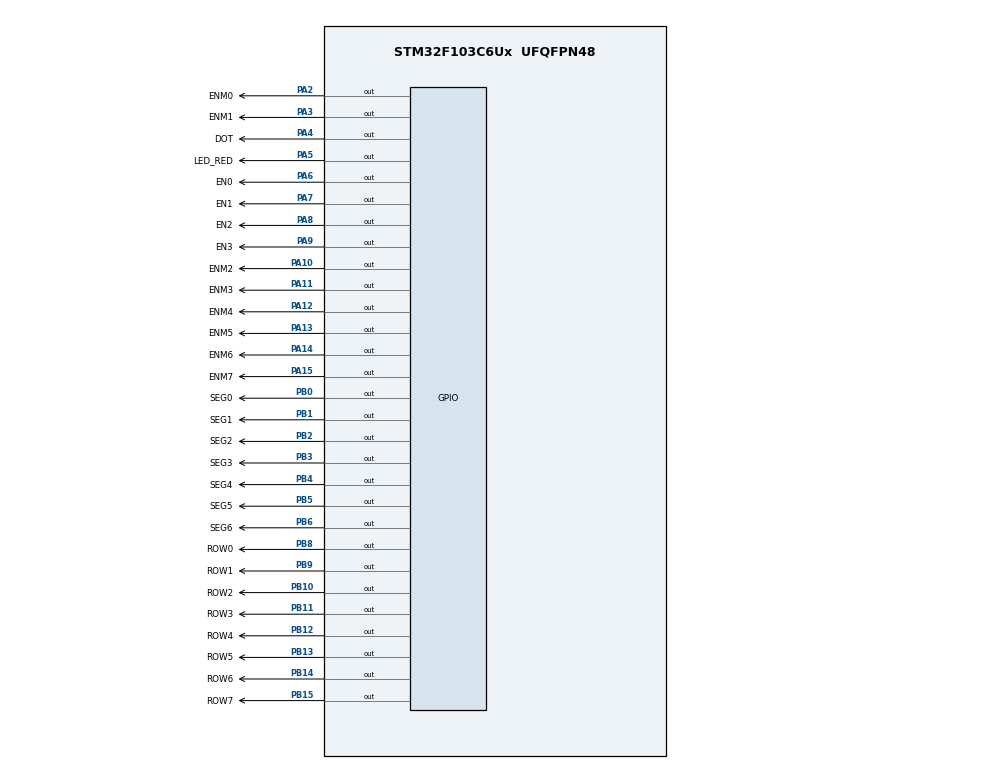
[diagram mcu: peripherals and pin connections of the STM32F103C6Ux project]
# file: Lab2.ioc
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Mcu.Family=STM32F1
Mcu.Name=STM32F103C6Ux
Mcu.Package=UFQFPN48
NVIC.PriorityGroup=NVIC_PRIORITYGROUP_4
NVIC.TIM2_IRQn=true\:0\:0\:false\:false\:true\:true\:true
PA10.GPIO_Label=ENM2
PA10.Signal=GPIO_Output
PA11.GPIO_Label=ENM3
PA11.Signal=GPIO_Output
PA12.GPIO_Label=ENM4
PA12.Signal=GPIO_Output
PA13.GPIO_Label=ENM5
PA13.Signal=GPIO_Output
PA14.GPIO_Label=ENM6
PA14.Signal=GPIO_Output
PA15.GPIO_Label=ENM7
PA15.Signal=GPIO_Output
PA2.GPIO_Label=ENM0
PA2.Signal=GPIO_Output
PA3.GPIO_Label=ENM1
PA3.Signal=GPIO_Output
PA4.GPIO_Label=DOT
PA4.Signal=GPIO_Output
PA5.GPIO_Label=LED_RED
PA5.Signal=GPIO_Output
PA6.GPIO_Label=EN0
PA6.Signal=GPIO_Output
PA7.GPIO_Label=EN1
PA7.Signal=GPIO_Output
PA8.GPIO_Label=EN2
PA8.Signal=GPIO_Output
PA9.GPIO_Label=EN3
PA9.Signal=GPIO_Output
PB0.GPIO_Label=SEG0
PB0.Signal=GPIO_Output
PB1.GPIO_Label=SEG1
PB1.Signal=GPIO_Output
PB10.GPIO_Label=ROW2
PB10.Signal=GPIO_Output
PB11.GPIO_Label=ROW3
PB11.Signal=GPIO_Output
PB12.GPIO_Label=ROW4
PB12.Signal=GPIO_Output
PB13.GPIO_Label=ROW5
PB13.Signal=GPIO_Output
PB14.GPIO_Label=ROW6
PB14.Signal=GPIO_Output
PB15.GPIO_Label=ROW7
PB15.Signal=GPIO_Output
PB2.GPIO_Label=SEG2
PB2.Signal=GPIO_Output
PB3.GPIO_Label=SEG3
PB3.Signal=GPIO_Output
PB4.GPIO_Label=SEG4
PB4.Signal=GPIO_Output
PB5.GPIO_Label=SEG5
PB5.Signal=GPIO_Output
PB6.GPIO_Label=SEG6
PB6.Signal=GPIO_Output
PB8.GPIO_Label=ROW0
PB8.Signal=GPIO_Output
PB9.GPIO_Label=ROW1
PB9.Signal=GPIO_Output
ProjectManager.HeapSize=0x200
ProjectManager.StackSize=0x400
ProjectManager.TargetToolchain=STM32CubeIDE
RCC.APB1Freq_Value=8000000
RCC.APB2Freq_Value=8000000
TIM2.Period=10
TIM2.Prescaler=7999
VP_SYS_VS_ND.Mode=No_Debug
VP_TIM2_VS_ClockSourceINT.Mode=Internal
board=custom

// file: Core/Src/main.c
/* USER CODE BEGIN Header */
/**
 ******************************************************************************
 * @file           : main.c
 * @brief          : Main program body
 ******************************************************************************
 * @attention
 *
 * <h2><center>&copy; Copyright (c) 2022 STMicroelectronics.
 * All rights reserved.</center></h2>
 *
 * This software component is licensed by ST under BSD 3-Clause license,
 * the "License"; You may not use this file except in compliance with the
 * License. You may obtain a copy of the License at:
 *                        opensource.org/licenses/BSD-3-Clause
 *
 ******************************************************************************
 */
/* USER CODE END Header */
#include "main.h"

/* USER CODE BEGIN Includes */
#include"timer.h"
/* USER CODE END Includes */

TIM_HandleTypeDef htim2;

void SystemClock_Config(void);
static void MX_TIM2_Init(void);
static void MX_GPIO_Init(void);

/* USER CODE BEGIN 0 */
// display led 7seg function
void display7SEG(int num) {
	switch (num) {
//		using output data register to set value for port B
	case 0: {
//			using operator & with 0xFF00 to reset 8bits low
		GPIOB->ODR &= 0xFF00;
//			set value to 8bits low by using operator & to retain 8bits high
		GPIOB->ODR |= 0x0040;
		break;
	}
	case 1: {
		GPIOB->ODR &= 0xFF00;
		GPIOB->ODR |= 0x0079;
		break;
	}
	case 2: {
		GPIOB->ODR &= 0xFF00;
		GPIOB->ODR |= 0x0024;
		break;
	}
	case 3: {
		GPIOB->ODR &= 0xFF00;
		GPIOB->ODR |= 0x0030;
		break;
	}
	case 4: {
		GPIOB->ODR &= 0xFF00;
		GPIOB->ODR |= 0x0019;
		break;
	}
	case 5: {
		GPIOB->ODR &= 0xFF00;
		GPIOB->ODR |= 0x0012;
		break;
	}
	case 6: {
		GPIOB->ODR &= 0xFF00;
		GPIOB->ODR |= 0x0002;
		break;
	}
	case 7: {
		GPIOB->ODR &= 0xFF00;
		GPIOB->ODR |= 0x0078;
		break;
	}
	case 8: {
		GPIOB->ODR &= 0xFF00;
		GPIOB->ODR |= 0x0000;
		break;
	}
	case 9: {
		GPIOB->ODR &= 0xFF00;
		GPIOB->ODR |= 0x0010;
		break;
	}
	default:
		GPIOB->ODR &= 0xFF00;
		GPIOB->ODR |= 0x00FF;
		break;
	}
}

const int MAX_LED = 4; // number of max led
int index_led = 0;
int led_buffer[4] = { 1, 2, 3, 4 }; //led number buffer
// update led 7 seg function
void update7SEG(int index) {
	switch (index) {
	case 0:
		//Display the first 7SEG with led_buffer[0]
		display7SEG(led_buffer[0]);
		break;
	case 1:
		//Display the second 7SEG with led_buffer[1]
		display7SEG(led_buffer[1]);
		break;
	case 2:
		//Display the third 7SEG with led_buffer[2]
		display7SEG(led_buffer[2]);
		break;
	case 3:
		//Display the forth 7SEG with led_buffer[3]
		display7SEG(led_buffer[3]);
		break;
	default:
		break;
	}
}

void updateClockBuffer(int hour, int minute) {
	led_buffer[0] = hour / 10;
	led_buffer[1] = hour % 10;
	led_buffer[2] = minute / 10;
	led_buffer[3] = minute % 10;
}
/* USER CODE END 0 */

int main(void) {

	/* MCU Configuration--------------------------------------------------------*/

	/* Reset of all peripherals, Initializes the Flash interface and the Systick. */
	HAL_Init();

	/* Configure the system clock */
	SystemClock_Config();

	/* Initialize all configured peripherals */
	MX_TIM2_Init();
	MX_GPIO_Init();
	/* USER CODE BEGIN 2 */
	HAL_TIM_Base_Start_IT(&htim2);
	/* USER CODE END 2 */

	/* Infinite loop */
	/* USER CODE BEGIN WHILE */
	HAL_GPIO_WritePin(EN0_GPIO_Port, EN0_Pin, SET);
	HAL_GPIO_WritePin(EN1_GPIO_Port, EN1_Pin, SET);
	HAL_GPIO_WritePin(EN2_GPIO_Port, EN2_Pin, SET);
	HAL_GPIO_WritePin(EN3_GPIO_Port, EN3_Pin, SET);
//	set time to begin clock
	int hour = 15, minute = 8, second = 50;
	updateClockBuffer(hour, minute);
	setTimer0(1000);
	setTimer1(250);

	int counter_ledRed = 0;
	int seg7_flag = 0;
	while (1) {
//		execute toggle led red, dot and update clock buffer by using timer0
		if (timer0_flag == 1) {
			setTimer0(1000);

			counter_ledRed++;
			if(counter_ledRed == 2){
				HAL_GPIO_TogglePin(LED_RED_GPIO_Port, LED_RED_Pin);
				counter_ledRed = 0;
			}

//			logic to calculate clock
			second++;
			if (second >= 60) {
				second = 0;
				minute++;
			}
			if (minute >= 60) {
				minute = 0;
				hour++;
			}
			if (hour >= 24) {
				hour = 0;
			}
			//generate number for 4 led7segs
			updateClockBuffer(hour, minute);

//			Toggle value DOT
			HAL_GPIO_TogglePin(DOT_GPIO_Port, DOT_Pin);
		}
//		execute update 7Seg by using timer1
		if (timer1_flag == 1) {
			setTimer1(250);
			//	timer for led 7 segment begin
			if (seg7_flag == 0) {
				//	set enable signal to turn on led7seg 1
				HAL_GPIO_WritePin(EN0_GPIO_Port, EN0_Pin, RESET);
				HAL_GPIO_WritePin(EN1_GPIO_Port, EN1_Pin, SET);
				HAL_GPIO_WritePin(EN2_GPIO_Port, EN2_Pin, SET);
				HAL_GPIO_WritePin(EN3_GPIO_Port, EN3_Pin, SET);
				seg7_flag = 1;
			} else if (seg7_flag == 1) {
				//	set enable signal to turn on led7seg 2
				HAL_GPIO_WritePin(EN0_GPIO_Port, EN0_Pin, SET);
				HAL_GPIO_WritePin(EN1_GPIO_Port, EN1_Pin, RESET);
				HAL_GPIO_WritePin(EN2_GPIO_Port, EN2_Pin, SET);
				HAL_GPIO_WritePin(EN3_GPIO_Port, EN3_Pin, SET);
				seg7_flag = 2;
			} else if (seg7_flag == 2) {
				//	set enable signal to turn on led7seg 3
				HAL_GPIO_WritePin(EN0_GPIO_Port, EN0_Pin, SET);
				HAL_GPIO_WritePin(EN1_GPIO_Port, EN1_Pin, SET);
				HAL_GPIO_WritePin(EN2_GPIO_Port, EN2_Pin, RESET);
				HAL_GPIO_WritePin(EN3_GPIO_Port, EN3_Pin, SET);
				seg7_flag = 3;
			} else if (seg7_flag == 3) {
				//	set enable signal to turn on led7seg 4
				HAL_GPIO_WritePin(EN0_GPIO_Port, EN0_Pin, SET);
				HAL_GPIO_WritePin(EN1_GPIO_Port, EN1_Pin, SET);
				HAL_GPIO_WritePin(EN2_GPIO_Port, EN2_Pin, SET);
				HAL_GPIO_WritePin(EN3_GPIO_Port, EN3_Pin, RESET);
				seg7_flag = 0;
			}
			if (index_led > MAX_LED - 1)
				index_led = 0;
			//	update led 7seg
			update7SEG(index_led++);
		}
	}
	/* USER CODE END WHILE */

}

void SystemClock_Config(void) {
	RCC_OscInitTypeDef RCC_OscInitStruct = { 0 };
	RCC_ClkInitTypeDef RCC_ClkInitStruct = { 0 };

	/** Initializes the RCC Oscillators according to the specified parameters
	 * in the RCC_OscInitTypeDef structure.
	 */
	RCC_OscInitStruct.OscillatorType = RCC_OSCILLATORTYPE_HSI;
	RCC_OscInitStruct.HSIState = RCC_HSI_ON;
	RCC_OscInitStruct.HSICalibrationValue = RCC_HSICALIBRATION_DEFAULT;
	RCC_OscInitStruct.PLL.PLLState = RCC_PLL_NONE;
	if (HAL_RCC_OscConfig(&RCC_OscInitStruct) != HAL_OK) {
		Error_Handler();
	}
	/** Initializes the CPU, AHB and APB buses clocks
	 */
	RCC_ClkInitStruct.ClockType = RCC_CLOCKTYPE_HCLK | RCC_CLOCKTYPE_SYSCLK
			| RCC_CLOCKTYPE_PCLK1 | RCC_CLOCKTYPE_PCLK2;
	RCC_ClkInitStruct.SYSCLKSource = RCC_SYSCLKSOURCE_HSI;
	RCC_ClkInitStruct.AHBCLKDivider = RCC_SYSCLK_DIV1;
	RCC_ClkInitStruct.APB1CLKDivider = RCC_HCLK_DIV1;
	RCC_ClkInitStruct.APB2CLKDivider = RCC_HCLK_DIV1;

	if (HAL_RCC_ClockConfig(&RCC_ClkInitStruct, FLASH_LATENCY_0) != HAL_OK) {
		Error_Handler();
	}
}

static void MX_TIM2_Init(void) {

	TIM_ClockConfigTypeDef sClockSourceConfig = { 0 };
	TIM_MasterConfigTypeDef sMasterConfig = { 0 };

	htim2.Instance = TIM2;
	htim2.Init.Prescaler = 7999;
	htim2.Init.CounterMode = TIM_COUNTERMODE_UP;
	htim2.Init.Period = 10;
	htim2.Init.ClockDivision = TIM_CLOCKDIVISION_DIV1;
	htim2.Init.AutoReloadPreload = TIM_AUTORELOAD_PRELOAD_DISABLE;
	if (HAL_TIM_Base_Init(&htim2) != HAL_OK) {
		Error_Handler();
	}
	sClockSourceConfig.ClockSource = TIM_CLOCKSOURCE_INTERNAL;
	if (HAL_TIM_ConfigClockSource(&htim2, &sClockSourceConfig) != HAL_OK) {
		Error_Handler();
	}
	sMasterConfig.MasterOutputTrigger = TIM_TRGO_RESET;
	sMasterConfig.MasterSlaveMode = TIM_MASTERSLAVEMODE_DISABLE;
	if (HAL_TIMEx_MasterConfigSynchronization(&htim2, &sMasterConfig)
			!= HAL_OK) {
		Error_Handler();
	}

}

static void MX_GPIO_Init(void) {
	GPIO_InitTypeDef GPIO_InitStruct = { 0 };

	/* GPIO Ports Clock Enable */
	__HAL_RCC_GPIOA_CLK_ENABLE();
	__HAL_RCC_GPIOB_CLK_ENABLE();

	/*Configure GPIO pin Output Level */
	HAL_GPIO_WritePin(GPIOA,
	DOT_Pin | LED_RED_Pin | EN0_Pin | EN1_Pin | EN2_Pin | EN3_Pin,
			GPIO_PIN_RESET);

	/*Configure GPIO pin Output Level */
	HAL_GPIO_WritePin(GPIOB,
	SEG0_Pin | SEG1_Pin | SEG2_Pin | SEG3_Pin | SEG4_Pin | SEG5_Pin | SEG6_Pin,
			GPIO_PIN_RESET);

	/*Configure GPIO pins : DOT_Pin LED_RED_Pin EN0_Pin EN1_Pin
	 EN2_Pin EN3_Pin */
	GPIO_InitStruct.Pin = DOT_Pin | LED_RED_Pin | EN0_Pin | EN1_Pin | EN2_Pin
			| EN3_Pin;
	GPIO_InitStruct.Mode = GPIO_MODE_OUTPUT_PP;
	GPIO_InitStruct.Pull = GPIO_NOPULL;
	GPIO_InitStruct.Speed = GPIO_SPEED_FREQ_LOW;
	HAL_GPIO_Init(GPIOA, &GPIO_InitStruct);

	/*Configure GPIO pins : SEG0_Pin SEG1_Pin SEG2_Pin SEG3_Pin
	 SEG4_Pin SEG5_Pin SEG6_Pin */
	GPIO_InitStruct.Pin = SEG0_Pin | SEG1_Pin | SEG2_Pin | SEG3_Pin | SEG4_Pin
			| SEG5_Pin | SEG6_Pin;
	GPIO_InitStruct.Mode = GPIO_MODE_OUTPUT_PP;
	GPIO_InitStruct.Pull = GPIO_NOPULL;
	GPIO_InitStruct.Speed = GPIO_SPEED_FREQ_LOW;
	HAL_GPIO_Init(GPIOB, &GPIO_InitStruct);

}

/* USER CODE BEGIN 4 */
void HAL_TIM_PeriodElapsedCallback(TIM_HandleTypeDef *htim) {
//	timer using for this exercise is created in timer.c and timer.h
	timerRun();
}
/* USER CODE END 4 */

void Error_Handler(void) {
	__disable_irq();
	while (1) {
	}
}

/************************ (C) COPYRIGHT STMicroelectronics *****END OF FILE****/
